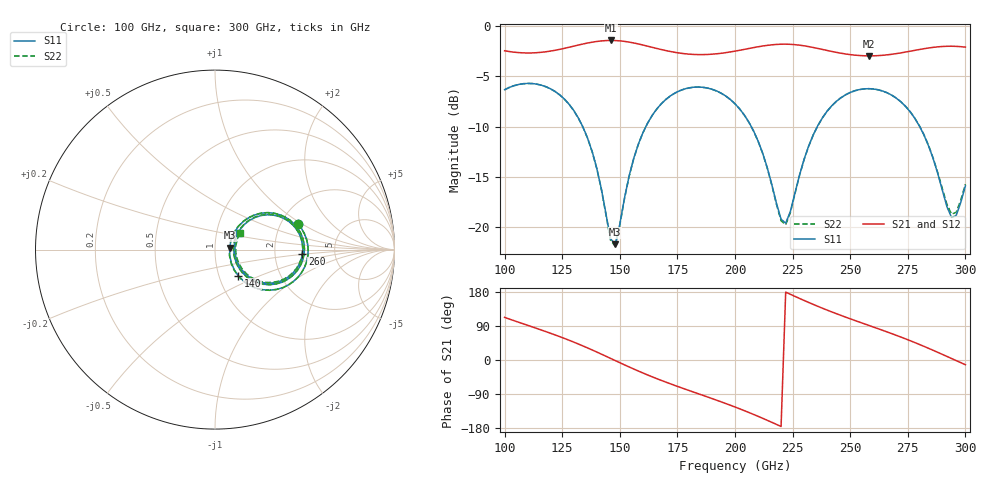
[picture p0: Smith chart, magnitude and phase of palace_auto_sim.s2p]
#  GHZ S DB R 50
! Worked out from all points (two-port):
!   101 points, 100 GHz to 300 GHz, reference 50 ohm
!   highest |S21| = -1.42 dB at 146 GHz (marker M1); lowest = -3.0 dB at 258 GHz (marker M2)
!   |S21| within 3 dB of the highest: start of sweep to end of sweep
!   lowest |S11| = -21.7 dB at 148 GHz (marker M3), VSWR 1.18, Z = 58.9 + j1.3 ohm
!   |S11| at or under -10 dB: 134 GHz to 161.3 GHz (27.33 GHz wide, 18.5 % of centre); 207.1 GHz to 235.7 GHz (28.6 GHz wide, 12.9 % of centre); 280.2 GHz to end of sweep
!   |S22| runs from -21.9 to -5.7 dB; largest |S21 - S12| = 1.5e-13
!   S11 on the Smith chart (normalised r, x): 100 GHz: 2.46, +0.93; 140 GHz: 1.24, -0.38; 260 GHz: 2.89, -0.20; 300 GHz: 1.28, +0.24
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100  -6.32 17.4  -2.45 112.5  -2.45 112.5  -6.32 17.2
116  -5.87 -11.0  -2.60 79.0  -2.60 79.0  -5.87 -11.2
126  -7.26 -29.2  -2.20 56.8  -2.20 56.8  -7.27 -29.4
134  -10.02 -43.0  -1.78 37.1  -1.78 37.1  -10.04 -43.3
140  -14.11 -48.3  -1.52 21.0  -1.52 21.0  -14.15 -48.8
146  -21.12 -21.1  -1.42 4.2  -1.42 4.2  -21.29 -21.4
148  -21.68 7.6  -1.43 -1.5  -1.43 -1.5  -21.86 8.0
158  -11.76 43.4  -1.77 -29.0  -1.77 -29.0  -11.77 43.7
168  -7.71 28.0  -2.33 -53.8  -2.33 -53.8  -7.72 28.2
184  -6.05 0.2  -2.83 -88.9  -2.83 -88.9  -6.05 0.3
200  -7.71 -26.5  -2.48 -124.0  -2.48 -124.0  -7.72 -26.5
210  -11.40 -39.7  -2.05 -148.6  -2.05 -148.6  -11.43 -39.8
220  -19.18 -14.5  -1.80 -175.5  -1.80 -175.5  -19.34 -14.6
222  -19.57 5.4  -1.79 179.0  -1.79 179.0  -19.73 5.8
234  -10.78 38.6  -2.12 146.6  -2.12 146.6  -10.80 39.1
244  -7.47 24.0  -2.61 122.2  -2.61 122.2  -7.48 24.4
258  -6.21 0.3  -2.95 91.4  -2.95 91.4  -6.21 0.7
260  -6.24 -3.1  -2.95 87.1  -2.95 87.1  -6.24 -2.6
268  -6.86 -16.6  -2.80 69.6  -2.80 69.6  -6.85 -16.0
282  -10.81 -37.1  -2.24 36.1  -2.24 36.1  -10.78 -36.2
294  -19.01 -6.3  -2.00 3.9  -2.00 3.9  -18.69 -5.7
300  -15.87 34.0  -2.08 -12.4  -2.08 -12.4  -15.70 33.1
